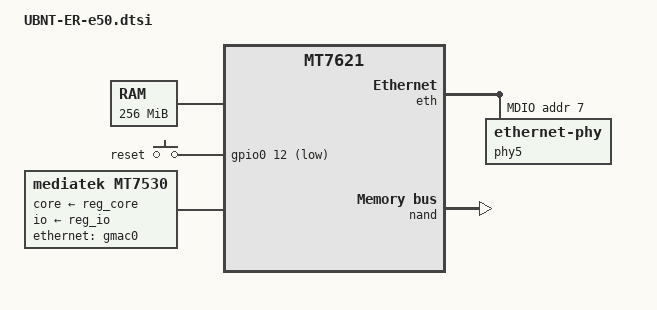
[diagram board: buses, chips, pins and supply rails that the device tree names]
#include "mt7621.dtsi"

#include <dt-bindings/gpio/gpio.h>
#include <dt-bindings/input/input.h>

/ {
	compatible = "ubiquiti,edgerouterx", "mediatek,mt7621-soc";

	memory@0 {
		device_type = "memory";
		reg = <0x0 0x10000000>;
	};

	chosen {
		bootargs = "console=ttyS0,57600";
	};

	gpio-keys-polled {
		compatible = "gpio-keys-polled";
		#address-cells = <1>;
		#size-cells = <0>;
		poll-interval = <20>;

		reset {
			label = "reset";
			gpios = <&gpio0 12 GPIO_ACTIVE_LOW>;
			linux,code = <KEY_RESTART>;
		};
	};

	reg_core: regulator@0 {
		regulator-name = "Core";
		regulator-min-microvolt = < 500000>;
		regulator-max-microvolt = <3650000>;
		regulator-boot-on;
	};

	reg_io: regulator@1 {
		regulator-name = "io";
		regulator-min-microvolt = <3000000>;
		regulator-max-microvolt = <3300000>;
		regulator-boot-on;
	};

	mt7530: switch@0 {
		compatible = "mediatek,mt7530";
		#address-cells = <1>;
		#size-cells = <0>;
	};


};

&gdma {
	status = "okay";
};

&hsdma {
	status = "okay";
};

&eth {
	status = "okay";
	mtd-mac-address = <&factory 0x22>;
	mtd-mac-address-increment = <1>;

	gmac0: mac@0 {
		compatible = "mediatek,eth-mac";
		reg = <0>;
		phy-mode = "rgmii";

		fixed-link {
			speed = <1000>;
			full-duplex;
			pause;
		};
	};

	gmac1: mac@1 {
		compatible = "mediatek,eth-mac";
		reg = <1>;
		phy-mode = "rgmii-rxid";
		phy-handle = <&phy5>;
	};

	mdio: mdio-bus {
		#address-cells = <1>;
		#size-cells = <0>;
		phy5: ethernet-phy@7 {
			reg = <7>;
			phy-mode = "rgmii-rxid";
		};
	};
};

&mt7530 {
	compatible = "mediatek,mt7530";
	#address-cells = <1>;
	#size-cells = <0>;
	reg = <0>;
	pinctrl-names = "default";
	mediatek,mcm;
	resets = <&rstctrl 2>;
	reset-names = "mcm";
	core-supply = <&reg_core>;
	io-supply = <&reg_io>;

	dsa,mii-bus = <&mdio>;

	ports {
		#address-cells = <1>;
		#size-cells = <0>;
		reg = <0>;

		port@0 {
			reg = <0>;
			label = "lan0";
			cpu = <&cpu_port0>;
		};

		port@1 {
			reg = <1>;
			label = "lan1";
			cpu = <&cpu_port0>;
		};

		port@2 {
			reg = <2>;
			label = "lan2";
			cpu = <&cpu_port0>;
		};

		port@3 {
			reg = <3>;
			label = "lan3";
			cpu = <&cpu_port0>;
		};

		port@4 {
			reg = <4>;
			label = "lan4";
			cpu = <&cpu_port0>;
		};

		cpu_port0: port@6 {
			reg = <6>;
			label = "cpu";
			ethernet = <&gmac0>;
			phy-mode = "rgmii";

			fixed-link {
				speed = <1000>;
				full-duplex;
			};
		};
	};
};

&nand {
	status = "okay";

	partition@0 {
		label = "u-boot";
		reg = <0x0 0x80000>;
		read-only;
	};

	partition@80000 {
		label = "u-boot-env";
		reg = <0x80000 0x60000>;
		read-only;
	};

	factory: partition@e0000 {
		label = "factory";
		reg = <0xe0000 0x60000>;
	};

	partition@140000 {
		label = "kernel1";
		reg = <0x140000 0x300000>;
	};

	partition@440000 {
		label = "kernel2";
		reg = <0x440000 0x300000>;
	};

	partition@740000 {
		label = "ubi";
		reg = <0x740000 0xf7c0000>;
	};
};

&pinctrl {
	state_default: pinctrl0 {
		gpio {
			ralink,group = "uart2", "uart3", "i2c", "pcie", "jtag";
			ralink,function = "gpio";
		};
	};
};

&spi0 {
	/* This board has 2Mb spi flash soldered in and visible
	   from manufacturer's firmware.
	   But this SoC shares spi and nand pins,
	   and current driver does't handle this sharing well */
	status = "disabled";

	m25p80@0 {
		#address-cells = <1>;
		#size-cells = <1>;
		compatible = "jedec,spi-nor";
		reg = <1>;
		spi-max-frequency = <10000000>;
		m25p,chunked-io = <32>;

		partition@0 {
			label = "spi";
			reg = <0x0 0x200000>;
			read-only;
		};
	};
};

&xhci {
	status = "disabled";
};
